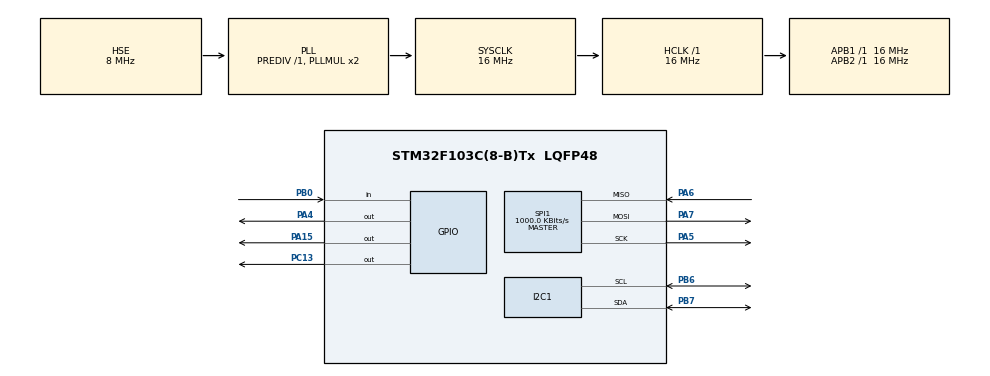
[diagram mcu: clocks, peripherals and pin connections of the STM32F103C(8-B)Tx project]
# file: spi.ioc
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Mcu.Family=STM32F1
Mcu.Name=STM32F103C(8-B)Tx
Mcu.Package=LQFP48
NVIC.PriorityGroup=NVIC_PRIORITYGROUP_4
PA13.Mode=Serial_Wire
PA13.Signal=SYS_JTMS-SWDIO
PA14.Mode=Serial_Wire
PA14.Signal=SYS_JTCK-SWCLK
PA15.GPIO_PuPd=GPIO_PULLDOWN
PA15.Signal=GPIO_Output
PA4.Signal=GPIO_Output
PA5.Mode=Full_Duplex_Master
PA5.Signal=SPI1_SCK
PA6.Mode=Full_Duplex_Master
PA6.Signal=SPI1_MISO
PA7.Mode=Full_Duplex_Master
PA7.Signal=SPI1_MOSI
PB0.Signal=GPIO_Input
PB6.Mode=I2C
PB6.Signal=I2C1_SCL
PB7.Mode=I2C
PB7.Signal=I2C1_SDA
PC13-TAMPER-RTC.GPIO_PuPd=GPIO_PULLDOWN
PC13-TAMPER-RTC.Signal=GPIO_Output
PD0-OSC_IN.Mode=HSE-External-Oscillator
PD0-OSC_IN.Signal=RCC_OSC_IN
PD1-OSC_OUT.Mode=HSE-External-Oscillator
PD1-OSC_OUT.Signal=RCC_OSC_OUT
ProjectManager.HeapSize=0x200
ProjectManager.StackSize=0x400
ProjectManager.TargetToolchain=MDK-ARM V5.32
RCC.AHBFreq_Value=16000000
RCC.APB1Freq_Value=16000000
RCC.APB1TimFreq_Value=16000000
RCC.APB2Freq_Value=16000000
RCC.APB2TimFreq_Value=16000000
RCC.HCLKFreq_Value=16000000
RCC.PLLSourceVirtual=RCC_PLLSOURCE_HSE
RCC.SYSCLKFreq_VALUE=16000000
RCC.SYSCLKSource=RCC_SYSCLKSOURCE_PLLCLK
RCC.USBFreq_Value=16000000
SPI1.BaudRatePrescaler=SPI_BAUDRATEPRESCALER_16
SPI1.CLKPhase=SPI_PHASE_2EDGE
SPI1.CLKPolarity=SPI_POLARITY_HIGH
SPI1.CalculateBaudRate=1000.0 KBits/s
SPI1.Direction=SPI_DIRECTION_2LINES
SPI1.Mode=SPI_MODE_MASTER
SPI1.VirtualType=VM_MASTER
board=custom

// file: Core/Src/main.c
/* USER CODE BEGIN Header */
/**
 ******************************************************************************
 * @file           : main.c
 * @brief          : Main program body
 ******************************************************************************
 * @attention
 *
 * Copyright (c) 2022 STMicroelectronics.
 * All rights reserved.
 *
 * This software is licensed under terms that can be found in the LICENSE file
 * in the root directory of this software component.
 * If no LICENSE file comes with this software, it is provided AS-IS.
 *
 ******************************************************************************
 */
/* USER CODE END Header */
#include "main.h"

/* USER CODE BEGIN Includes */
#include <stdio.h>
#include <math.h>
#include <stdlib.h>
#include "i2c-lcd.h"
//#include <string>
/* USER CODE END Includes */

I2C_HandleTypeDef hi2c1;

SPI_HandleTypeDef hspi1;

/* USER CODE BEGIN PV */
uint8_t data_rec[6];
int16_t x, y, z;
float xg, yg, zg;
float dis, predis = 0, diffdis;
int steps = 0;
int count = 0;
/* USER CODE END PV */

void SystemClock_Config(void);
static void MX_GPIO_Init(void);
static void MX_SPI1_Init(void);
static void MX_I2C1_Init(void);
/* USER CODE BEGIN PFP */

#ifdef __GNUC__s
#define PUTCHAR_PROTOTYPE int __io_putchar(int ch)
#else
#define PUTCHAR_PROTOTYPE int fputc(int ch, FILE *f)
#endif

/* USER CODE END PFP */

/* USER CODE BEGIN 0 */
void adxl_write(uint8_t address, uint8_t value) {
	uint8_t data[2];
	data[0] = address | 0x40;  // multibyte write
	data[1] = value;
	HAL_GPIO_WritePin(GPIOA, GPIO_PIN_4, GPIO_PIN_RESET); // pull the cs pin low
	HAL_SPI_Transmit(&hspi1, data, 2, 100);  // write data to register
	HAL_GPIO_WritePin(GPIOA, GPIO_PIN_4, GPIO_PIN_SET);  // pull the cs pin high
}
void adxl_read(uint8_t address) {
	address |= 0x80;  // read operation
	address |= 0x40;  // multibyte read
	uint8_t rec;
	HAL_GPIO_WritePin(GPIOA, GPIO_PIN_4, GPIO_PIN_RESET);  // pull the pin low
	HAL_SPI_Transmit(&hspi1, &address, 1, 100);  // send address
	HAL_SPI_Receive(&hspi1, data_rec, 6, 100);  // receive 6 bytes data
	HAL_GPIO_WritePin(GPIOA, GPIO_PIN_4, GPIO_PIN_SET);  // pull the pin high
}
void adxl_init(void) {
	adxl_write(0x31, 0x01);  // data_format range= +- 4g
	adxl_write(0x2d, 0x00);  // reset all bits
	adxl_write(0x2d, 0x08);  // power_cntl measure and wake up 8hz
}

void SystemClock_Config(void);
static void MX_GPIO_Init(void);
static void MX_USART1_UART_Init(void);

/* USER CODE END 0 */

int main(void)
{
  /* USER CODE BEGIN 1 */

	uint8_t MSG[34] = { '\0' };
	uint8_t MSG2[34] = { '\0' };
	//std::string MSG = { '\0' };

  /* USER CODE END 1 */

  /* MCU Configuration--------------------------------------------------------*/

  /* Reset of all peripherals, Initializes the Flash interface and the Systick. */
  HAL_Init();

  /* Configure the system clock */
  SystemClock_Config();

  /* Initialize all configured peripherals */
  MX_GPIO_Init();
  MX_SPI1_Init();
  MX_I2C1_Init();
  /* USER CODE BEGIN 2 */

	lcd_init();

	adxl_init();

  /* USER CODE END 2 */

  /* Infinite loop */
	while (1) {

    /* USER CODE BEGIN 3 */
		// READ DATA
		adxl_read(0x32);
		x = ((data_rec[1] << 8) | data_rec[0]);
		y = ((data_rec[3] << 8) | data_rec[2]);
		z = ((data_rec[5] << 8) | data_rec[4]);

		// Convert into 'g'

		xg = x;
		yg = y;
		zg = z;
		dis=sqrt((xg*xg) + (yg*yg) + (zg*zg));
    diffdis = dis - predis;
		if(abs(diffdis) > 6 ) steps++;
		// display the result on LCD
    lcd_clear();
		lcd_put_cur(0,2);
		lcd_send_string("Steps:");
		lcd_put_cur(1,8);
		lcd_send_float(steps,2);
		predis = dis;
		HAL_Delay(500);
	}
	}
  /* USER CODE END 3 */

void SystemClock_Config(void)
{
  RCC_OscInitTypeDef RCC_OscInitStruct = {0};
  RCC_ClkInitTypeDef RCC_ClkInitStruct = {0};

  /** Initializes the RCC Oscillators according to the specified parameters
  * in the RCC_OscInitTypeDef structure.
  */
  RCC_OscInitStruct.OscillatorType = RCC_OSCILLATORTYPE_HSE;
  RCC_OscInitStruct.HSEState = RCC_HSE_ON;
  RCC_OscInitStruct.HSEPredivValue = RCC_HSE_PREDIV_DIV1;
  RCC_OscInitStruct.HSIState = RCC_HSI_ON;
  RCC_OscInitStruct.PLL.PLLState = RCC_PLL_ON;
  RCC_OscInitStruct.PLL.PLLSource = RCC_PLLSOURCE_HSE;
  RCC_OscInitStruct.PLL.PLLMUL = RCC_PLL_MUL2;
  if (HAL_RCC_OscConfig(&RCC_OscInitStruct) != HAL_OK)
  {
    Error_Handler();
  }

  /** Initializes the CPU, AHB and APB buses clocks
  */
  RCC_ClkInitStruct.ClockType = RCC_CLOCKTYPE_HCLK|RCC_CLOCKTYPE_SYSCLK
                              |RCC_CLOCKTYPE_PCLK1|RCC_CLOCKTYPE_PCLK2;
  RCC_ClkInitStruct.SYSCLKSource = RCC_SYSCLKSOURCE_PLLCLK;
  RCC_ClkInitStruct.AHBCLKDivider = RCC_SYSCLK_DIV1;
  RCC_ClkInitStruct.APB1CLKDivider = RCC_HCLK_DIV1;
  RCC_ClkInitStruct.APB2CLKDivider = RCC_HCLK_DIV1;

  if (HAL_RCC_ClockConfig(&RCC_ClkInitStruct, FLASH_LATENCY_0) != HAL_OK)
  {
    Error_Handler();
  }
}

static void MX_I2C1_Init(void)
{

  hi2c1.Instance = I2C1;
  hi2c1.Init.ClockSpeed = 100000;
  hi2c1.Init.DutyCycle = I2C_DUTYCYCLE_2;
  hi2c1.Init.OwnAddress1 = 0;
  hi2c1.Init.AddressingMode = I2C_ADDRESSINGMODE_7BIT;
  hi2c1.Init.DualAddressMode = I2C_DUALADDRESS_DISABLE;
  hi2c1.Init.OwnAddress2 = 0;
  hi2c1.Init.GeneralCallMode = I2C_GENERALCALL_DISABLE;
  hi2c1.Init.NoStretchMode = I2C_NOSTRETCH_DISABLE;
  if (HAL_I2C_Init(&hi2c1) != HAL_OK)
  {
    Error_Handler();
  }

}

static void MX_SPI1_Init(void)
{

  /* SPI1 parameter configuration*/
  hspi1.Instance = SPI1;
  hspi1.Init.Mode = SPI_MODE_MASTER;
  hspi1.Init.Direction = SPI_DIRECTION_2LINES;
  hspi1.Init.DataSize = SPI_DATASIZE_8BIT;
  hspi1.Init.CLKPolarity = SPI_POLARITY_HIGH;
  hspi1.Init.CLKPhase = SPI_PHASE_2EDGE;
  hspi1.Init.NSS = SPI_NSS_SOFT;
  hspi1.Init.BaudRatePrescaler = SPI_BAUDRATEPRESCALER_16;
  hspi1.Init.FirstBit = SPI_FIRSTBIT_MSB;
  hspi1.Init.TIMode = SPI_TIMODE_DISABLE;
  hspi1.Init.CRCCalculation = SPI_CRCCALCULATION_DISABLE;
  hspi1.Init.CRCPolynomial = 10;
  if (HAL_SPI_Init(&hspi1) != HAL_OK)
  {
    Error_Handler();
  }

}

static void MX_GPIO_Init(void)
{
  GPIO_InitTypeDef GPIO_InitStruct = {0};

  /* GPIO Ports Clock Enable */
  __HAL_RCC_GPIOC_CLK_ENABLE();
  __HAL_RCC_GPIOD_CLK_ENABLE();
  __HAL_RCC_GPIOA_CLK_ENABLE();
  __HAL_RCC_GPIOB_CLK_ENABLE();

  /*Configure GPIO pin Output Level */
  HAL_GPIO_WritePin(GPIOC, GPIO_PIN_13, GPIO_PIN_RESET);

  /*Configure GPIO pin Output Level */
  HAL_GPIO_WritePin(GPIOA, GPIO_PIN_4|GPIO_PIN_15, GPIO_PIN_RESET);

  /*Configure GPIO pin : PC13 */
  GPIO_InitStruct.Pin = GPIO_PIN_13;
  GPIO_InitStruct.Mode = GPIO_MODE_OUTPUT_PP;
  GPIO_InitStruct.Pull = GPIO_PULLDOWN;
  GPIO_InitStruct.Speed = GPIO_SPEED_FREQ_LOW;
  HAL_GPIO_Init(GPIOC, &GPIO_InitStruct);

  /*Configure GPIO pin : PA4 */
  GPIO_InitStruct.Pin = GPIO_PIN_4;
  GPIO_InitStruct.Mode = GPIO_MODE_OUTPUT_PP;
  GPIO_InitStruct.Pull = GPIO_NOPULL;
  GPIO_InitStruct.Speed = GPIO_SPEED_FREQ_LOW;
  HAL_GPIO_Init(GPIOA, &GPIO_InitStruct);

  /*Configure GPIO pin : PB0 */
  GPIO_InitStruct.Pin = GPIO_PIN_0;
  GPIO_InitStruct.Mode = GPIO_MODE_INPUT;
  GPIO_InitStruct.Pull = GPIO_NOPULL;
  HAL_GPIO_Init(GPIOB, &GPIO_InitStruct);

  /*Configure GPIO pin : PA15 */
  GPIO_InitStruct.Pin = GPIO_PIN_15;
  GPIO_InitStruct.Mode = GPIO_MODE_OUTPUT_PP;
  GPIO_InitStruct.Pull = GPIO_PULLDOWN;
  GPIO_InitStruct.Speed = GPIO_SPEED_FREQ_LOW;
  HAL_GPIO_Init(GPIOA, &GPIO_InitStruct);

}

void Error_Handler(void)
{
	__disable_irq();
	while (1) {
	}
}
